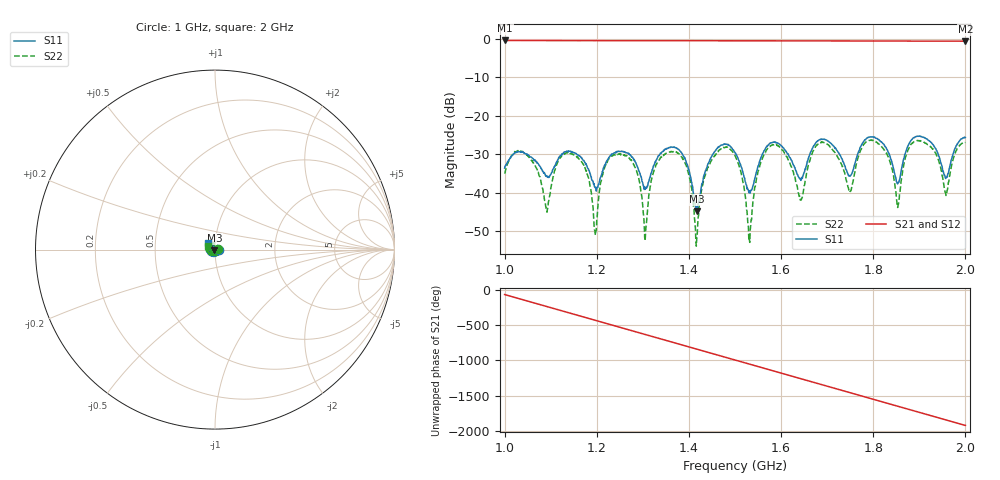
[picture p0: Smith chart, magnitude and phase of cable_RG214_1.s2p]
#  HZ  S  DB  R  50.00
! Rohde & Schwarz Vector Network Analyzer
! Rohde-Schwarz,ZNB8-4Port,1311601044102961,2.82
! Created: UTC 3/4/2022, 3:58:19 PM
! freq[Hz]  db:S11  ang:S11  db:S21  ang:S21  db:S12  ang:S12  db:S22  ang:S22
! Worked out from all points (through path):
!   1001 points, 1 GHz to 2 GHz, reference 50 ohm
!   highest |S21| = -0.41 dB at 1.001 GHz (marker M1); lowest = -0.6 dB at 2 GHz (marker M2)
!   group delay of S21, straight-line fit = 5.17 ns
!   lowest |S11| = -44.8 dB at 1.417 GHz (marker M3), VSWR 1.01, Z = 49.7 - j0.496 ohm
!   |S11| at or under -10 dB: start of sweep to end of sweep
!   |S22| runs from -53.9 to -26.2 dB; largest |S21 - S12| = 0.0026
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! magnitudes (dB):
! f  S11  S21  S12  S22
! 1 GHz  -33.6  -0.4  -0.4  -35.0
! 1.001 GHz  -33.1  -0.4  -0.4  -34.8
! 1.091 GHz  -35.8  -0.4  -0.4  -44.0
! 1.167 GHz  -30.8  -0.5  -0.5  -32.0
! 1.197 GHz  -38.6  -0.5  -0.5  -51.1
! 1.223 GHz  -31.5  -0.5  -0.5  -31.9
! 1.27 GHz  -29.8  -0.5  -0.5  -31.0
! 1.305 GHz  -39.1  -0.5  -0.5  -52.5
! 1.334 GHz  -30.3  -0.5  -0.5  -31.7
! 1.387 GHz  -30.2  -0.5  -0.5  -31.0
! 1.417 GHz  -44.8  -0.5  -0.5  -51.9
! 1.448 GHz  -30.9  -0.5  -0.5  -31.7
! 1.5 GHz  -29.6  -0.5  -0.5  -30.3
! 1.532 GHz  -40.0  -0.5  -0.5  -52.9
! 1.572 GHz  -27.6  -0.5  -0.5  -28.4
! 1.642 GHz  -36.3  -0.5  -0.5  -41.7
! 1.667 GHz  -28.7  -0.5  -0.5  -29.9
! 1.834 GHz  -29.7  -0.6  -0.6  -31.1
! 1.853 GHz  -37.7  -0.6  -0.6  -43.8
! 1.914 GHz  -25.9  -0.6  -0.6  -27.2
! 1.958 GHz  -36.1  -0.6  -0.6  -40.7
! 2 GHz  -25.6  -0.6  -0.6  -26.9
